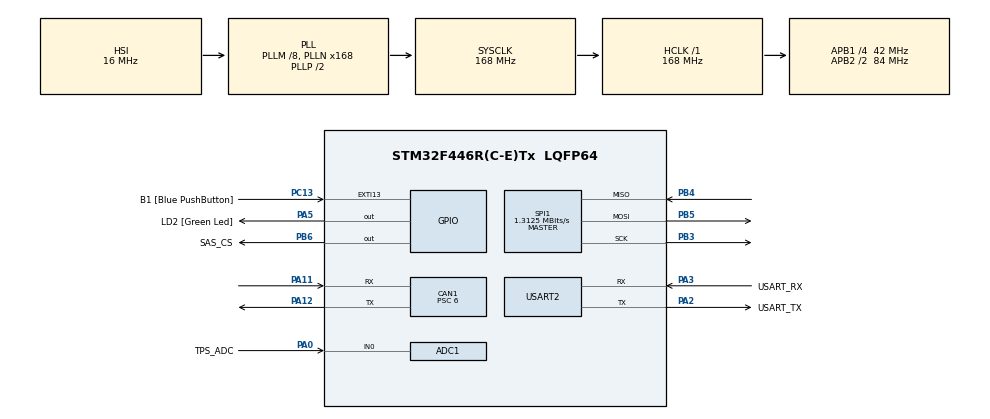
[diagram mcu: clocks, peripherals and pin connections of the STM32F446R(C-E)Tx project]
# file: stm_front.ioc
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ADC1.Channel-0\#ChannelRegularConversion=ADC_CHANNEL_0
ADC1.NbrOfConversionFlag=1
ADC1.Rank-0\#ChannelRegularConversion=1
ADC1.SamplingTime-0\#ChannelRegularConversion=ADC_SAMPLETIME_84CYCLES
ADC1.master=1
CAN1.ABOM=ENABLE
CAN1.BS1=CAN_BS1_10TQ
CAN1.BS2=CAN_BS2_3TQ
CAN1.CalculateBaudRate=500000
CAN1.CalculateTimeBit=2000
CAN1.CalculateTimeQuantum=142.85714285714286
CAN1.NART=ENABLE
CAN1.Prescaler=6
Mcu.Family=STM32F4
Mcu.Name=STM32F446R(C-E)Tx
Mcu.Package=LQFP64
NVIC.PriorityGroup=NVIC_PRIORITYGROUP_0
NVIC.TIM6_DAC_IRQn=true\:0\:0\:false\:false\:true\:true\:true\:true
PA0-WKUP.GPIO_Label=TPS_ADC
PA0-WKUP.Signal=ADCx_IN0
PA11.GPIO_Speed=GPIO_SPEED_FREQ_HIGH
PA11.Mode=CAN_Activate
PA11.Signal=CAN1_RX
PA12.GPIO_Speed=GPIO_SPEED_FREQ_HIGH
PA12.Mode=CAN_Activate
PA12.Signal=CAN1_TX
PA13.GPIO_Label=TMS
PA13.Mode=Serial_Wire
PA13.Signal=SYS_JTMS-SWDIO
PA14.GPIO_Label=TCK
PA14.Mode=Serial_Wire
PA14.Signal=SYS_JTCK-SWCLK
PA2.GPIO_Label=USART_TX
PA2.Mode=Asynchronous
PA2.Signal=USART2_TX
PA3.GPIO_Label=USART_RX
PA3.Mode=Asynchronous
PA3.Signal=USART2_RX
PA5.GPIO_Label=LD2 [Green Led]
PA5.Signal=GPIO_Output
PB3.GPIO_Speed=GPIO_SPEED_FREQ_HIGH
PB3.Mode=Full_Duplex_Master
PB3.Signal=SPI1_SCK
PB4.GPIO_Speed=GPIO_SPEED_FREQ_HIGH
PB4.Mode=Full_Duplex_Master
PB4.Signal=SPI1_MISO
PB5.GPIO_Speed=GPIO_SPEED_FREQ_HIGH
PB5.Mode=Full_Duplex_Master
PB5.Signal=SPI1_MOSI
PB6.GPIO_Label=SAS_CS
PB6.GPIO_PuPd=GPIO_PULLUP
PB6.GPIO_Speed=GPIO_SPEED_FREQ_MEDIUM
PB6.PinState=GPIO_PIN_SET
PB6.Signal=GPIO_Output
PC13.GPIO_Label=B1 [Blue PushButton]
PC13.GPIO_ModeDefaultEXTI=GPIO_MODE_IT_FALLING
PC13.Signal=GPXTI13
PC14-OSC32_IN.Mode=LSE-External-Oscillator
PC14-OSC32_IN.Signal=RCC_OSC32_IN
PC15-OSC32_OUT.Mode=LSE-External-Oscillator
PC15-OSC32_OUT.Signal=RCC_OSC32_OUT
PH0-OSC_IN.Mode=HSE-External-Oscillator
PH0-OSC_IN.Signal=RCC_OSC_IN
PH1-OSC_OUT.Mode=HSE-External-Oscillator
PH1-OSC_OUT.Signal=RCC_OSC_OUT
ProjectManager.HeapSize=0x200
ProjectManager.StackSize=0x400
ProjectManager.TargetToolchain=STM32CubeIDE
RCC.48MHZClocksFreq_Value=84000000
RCC.AHBFreq_Value=168000000
RCC.APB1CLKDivider=RCC_HCLK_DIV4
RCC.APB1Freq_Value=42000000
RCC.APB1TimFreq_Value=84000000
RCC.APB2CLKDivider=RCC_HCLK_DIV2
RCC.APB2Freq_Value=84000000
RCC.APB2TimFreq_Value=168000000
RCC.CortexFreq_Value=168000000
RCC.FLatency-AdvancedSettings=FLASH_LATENCY_5
RCC.HCLKFreq_Value=168000000
RCC.HSE_VALUE=16000000
RCC.HSI_VALUE=16000000
RCC.PLLM=8
RCC.PLLN=168
RCC.SYSCLKFreq_VALUE=168000000
RCC.SYSCLKSource=RCC_SYSCLKSOURCE_PLLCLK
RCC.USBFreq_Value=168000000
RCC.VCOOutputFreq_Value=336000000
SH.ADCx_IN0.0=ADC1_IN0,IN0
SPI1.BaudRatePrescaler=SPI_BAUDRATEPRESCALER_64
SPI1.CLKPhase=SPI_PHASE_2EDGE
SPI1.CalculateBaudRate=1.3125 MBits/s
SPI1.DataSize=SPI_DATASIZE_16BIT
SPI1.Direction=SPI_DIRECTION_2LINES
SPI1.Mode=SPI_MODE_MASTER
SPI1.VirtualType=VM_MASTER
TIM6.Period=999
TIM6.Prescaler=839
TIM6.TIM_MasterOutputTrigger=TIM_TRGO_UPDATE
USART2.VirtualMode=VM_ASYNC
VP_TIM6_VS_ClockSourceINT.Mode=Enable_Timer
board=NUCLEO-F446RE

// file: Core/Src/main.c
/* USER CODE BEGIN Header */
/**
  ******************************************************************************
  * @file           : main.c
  * @brief          : Main program body
  ******************************************************************************
  * @attention
  *
  * Copyright (c) 2026 STMicroelectronics.
  * All rights reserved.
  *
  * This software is licensed under terms that can be found in the LICENSE file
  * in the root directory of this software component.
  * If no LICENSE file comes with this software, it is provided AS-IS.
  *
  ******************************************************************************
  */
/* USER CODE END Header */
#include "main.h"

/* USER CODE BEGIN Includes */
#include "board_config.h"
#include "sas_sensor.h"
#include "tps_sensor.h"
#include "can_comm.h"
#include "can_messages.h"

/* USER CODE END Includes */

/* USER CODE BEGIN PD */
/* ★★ CAN 배선 검증 모드 ★★
 * 1 = 실제 TPS/SAS 대신 합성값(톱니파)을 CAN으로 내보낸다. 센서가 차량에
 *     장착돼 있어 손으로 움직일 수 없을 때, "CAN 배선이 되는가"와
 *     "센서가 되는가"를 분리해서 확인하는 용도.
 *     Board B의 USART2 출력에서 tps= 값이 계속 변하면 CAN 경로 정상.
 * 0 = 평소. 반드시 0으로 두고 차에 올릴 것.
 *
 * ★실차에 1로 올리면 매우 위험하다: 페달을 안 밟아도 TPS가 풀스케일까지
 *  올라가므로 시스템이 전력을 요구한다. 반드시 구동계 분리 상태에서만 쓸 것. */
#define CAN_TEST_MODE     0

/* 테스트 파형 상수 (CAN_TEST_MODE 전용)
 * 부팅 후 HOLD_TICKS 동안은 IDLE_VAL로 고정해 Board B의 TPS_LearnIdle()이
 * 성공하게 한다 — 그래야 부팅 시점의 CAN 수신까지 함께 검증된다.
 * ★IDLE_VAL을 기본값 868이 아닌 900으로 둔 이유: Board B가 "TPS idle: 900
 *   (learned)"로 찍으면 기본값 폴백이 아니라 진짜 수신했다는 증거가 된다. */
#define TEST_IDLE_VAL     900u
#define TEST_HOLD_TICKS   300u   /* 100Hz 기준 3초 */
#define TEST_TPS_STEP     8u     /* 톱니파 상승폭/틱 → 약 2.8초에 풀스윙 */
#define TEST_SAS_STEP     40u    /* SAS(14비트)는 더 크게 — 약 4초에 한 바퀴 */
/* USER CODE END PD */

ADC_HandleTypeDef hadc1;

CAN_HandleTypeDef hcan1;

SPI_HandleTypeDef hspi1;

TIM_HandleTypeDef htim6;

UART_HandleTypeDef huart2;

/* USER CODE BEGIN PV */
static volatile uint8_t hb_counter = 0;
/* USER CODE END PV */

void SystemClock_Config(void);
static void MX_GPIO_Init(void);
static void MX_ADC1_Init(void);
static void MX_CAN1_Init(void);
static void MX_SPI1_Init(void);
static void MX_TIM6_Init(void);
static void MX_USART2_UART_Init(void);

int main(void)
{

  /* MCU Configuration--------------------------------------------------------*/

  /* Reset of all peripherals, Initializes the Flash interface and the Systick. */
  HAL_Init();

  /* Configure the system clock */
  SystemClock_Config();

  /* Initialize all configured peripherals */
  MX_GPIO_Init();
  MX_ADC1_Init();
  MX_CAN1_Init();
  MX_SPI1_Init();
  MX_TIM6_Init();
  MX_USART2_UART_Init();
  /* USER CODE BEGIN 2 */
  SAS_Init();
     TPS_Init();
     CAN_Init();
     HAL_TIM_Base_Start_IT(&htim6);   /* 100Hz */
  /* USER CODE END 2 */

  /* Infinite loop */
  while (1)
  {

  }
}

void SystemClock_Config(void)
{
  RCC_OscInitTypeDef RCC_OscInitStruct = {0};
  RCC_ClkInitTypeDef RCC_ClkInitStruct = {0};

  /** Configure the main internal regulator output voltage
  */
  __HAL_RCC_PWR_CLK_ENABLE();
  __HAL_PWR_VOLTAGESCALING_CONFIG(PWR_REGULATOR_VOLTAGE_SCALE1);

  /** Initializes the RCC Oscillators according to the specified parameters
  * in the RCC_OscInitTypeDef structure.
  */
  RCC_OscInitStruct.OscillatorType = RCC_OSCILLATORTYPE_HSI;
  RCC_OscInitStruct.HSIState = RCC_HSI_ON;
  RCC_OscInitStruct.HSICalibrationValue = RCC_HSICALIBRATION_DEFAULT;
  RCC_OscInitStruct.PLL.PLLState = RCC_PLL_ON;
  RCC_OscInitStruct.PLL.PLLSource = RCC_PLLSOURCE_HSI;
  RCC_OscInitStruct.PLL.PLLM = 8;
  RCC_OscInitStruct.PLL.PLLN = 168;
  RCC_OscInitStruct.PLL.PLLP = RCC_PLLP_DIV2;
  RCC_OscInitStruct.PLL.PLLQ = 2;
  RCC_OscInitStruct.PLL.PLLR = 2;
  if (HAL_RCC_OscConfig(&RCC_OscInitStruct) != HAL_OK)
  {
    Error_Handler();
  }

  /** Initializes the CPU, AHB and APB buses clocks
  */
  RCC_ClkInitStruct.ClockType = RCC_CLOCKTYPE_HCLK|RCC_CLOCKTYPE_SYSCLK
                              |RCC_CLOCKTYPE_PCLK1|RCC_CLOCKTYPE_PCLK2;
  RCC_ClkInitStruct.SYSCLKSource = RCC_SYSCLKSOURCE_PLLCLK;
  RCC_ClkInitStruct.AHBCLKDivider = RCC_SYSCLK_DIV1;
  RCC_ClkInitStruct.APB1CLKDivider = RCC_HCLK_DIV4;
  RCC_ClkInitStruct.APB2CLKDivider = RCC_HCLK_DIV2;

  if (HAL_RCC_ClockConfig(&RCC_ClkInitStruct, FLASH_LATENCY_5) != HAL_OK)
  {
    Error_Handler();
  }
}

static void MX_ADC1_Init(void)
{

  ADC_ChannelConfTypeDef sConfig = {0};

  /** Configure the global features of the ADC (Clock, Resolution, Data Alignment and number of conversion)
  */
  hadc1.Instance = ADC1;
  hadc1.Init.ClockPrescaler = ADC_CLOCK_SYNC_PCLK_DIV4;
  hadc1.Init.Resolution = ADC_RESOLUTION_12B;
  hadc1.Init.ScanConvMode = DISABLE;
  hadc1.Init.ContinuousConvMode = DISABLE;
  hadc1.Init.DiscontinuousConvMode = DISABLE;
  hadc1.Init.ExternalTrigConvEdge = ADC_EXTERNALTRIGCONVEDGE_NONE;
  hadc1.Init.ExternalTrigConv = ADC_SOFTWARE_START;
  hadc1.Init.DataAlign = ADC_DATAALIGN_RIGHT;
  hadc1.Init.NbrOfConversion = 1;
  hadc1.Init.DMAContinuousRequests = DISABLE;
  hadc1.Init.EOCSelection = ADC_EOC_SINGLE_CONV;
  if (HAL_ADC_Init(&hadc1) != HAL_OK)
  {
    Error_Handler();
  }

  /** Configure for the selected ADC regular channel its corresponding rank in the sequencer and its sample time.
  */
  sConfig.Channel = ADC_CHANNEL_0;
  sConfig.Rank = 1;
  sConfig.SamplingTime = ADC_SAMPLETIME_84CYCLES;
  if (HAL_ADC_ConfigChannel(&hadc1, &sConfig) != HAL_OK)
  {
    Error_Handler();
  }

}

static void MX_CAN1_Init(void)
{

  hcan1.Instance = CAN1;
  hcan1.Init.Prescaler = 6;
  hcan1.Init.Mode = CAN_MODE_NORMAL;
  hcan1.Init.SyncJumpWidth = CAN_SJW_1TQ;
  hcan1.Init.TimeSeg1 = CAN_BS1_10TQ;
  hcan1.Init.TimeSeg2 = CAN_BS2_3TQ;
  hcan1.Init.TimeTriggeredMode = DISABLE;
  hcan1.Init.AutoBusOff = ENABLE;
  hcan1.Init.AutoWakeUp = DISABLE;
  hcan1.Init.AutoRetransmission = ENABLE;
  hcan1.Init.ReceiveFifoLocked = DISABLE;
  hcan1.Init.TransmitFifoPriority = DISABLE;
  if (HAL_CAN_Init(&hcan1) != HAL_OK)
  {
    Error_Handler();
  }

}

static void MX_SPI1_Init(void)
{

  /* SPI1 parameter configuration*/
  hspi1.Instance = SPI1;
  hspi1.Init.Mode = SPI_MODE_MASTER;
  hspi1.Init.Direction = SPI_DIRECTION_2LINES;
  hspi1.Init.DataSize = SPI_DATASIZE_16BIT;
  hspi1.Init.CLKPolarity = SPI_POLARITY_LOW;
  hspi1.Init.CLKPhase = SPI_PHASE_2EDGE;
  hspi1.Init.NSS = SPI_NSS_SOFT;
  hspi1.Init.BaudRatePrescaler = SPI_BAUDRATEPRESCALER_64;
  hspi1.Init.FirstBit = SPI_FIRSTBIT_MSB;
  hspi1.Init.TIMode = SPI_TIMODE_DISABLE;
  hspi1.Init.CRCCalculation = SPI_CRCCALCULATION_DISABLE;
  hspi1.Init.CRCPolynomial = 10;
  if (HAL_SPI_Init(&hspi1) != HAL_OK)
  {
    Error_Handler();
  }

}

static void MX_TIM6_Init(void)
{

  TIM_MasterConfigTypeDef sMasterConfig = {0};

  htim6.Instance = TIM6;
  htim6.Init.Prescaler = 839;
  htim6.Init.CounterMode = TIM_COUNTERMODE_UP;
  htim6.Init.Period = 999;
  htim6.Init.AutoReloadPreload = TIM_AUTORELOAD_PRELOAD_DISABLE;
  if (HAL_TIM_Base_Init(&htim6) != HAL_OK)
  {
    Error_Handler();
  }
  sMasterConfig.MasterOutputTrigger = TIM_TRGO_UPDATE;
  sMasterConfig.MasterSlaveMode = TIM_MASTERSLAVEMODE_DISABLE;
  if (HAL_TIMEx_MasterConfigSynchronization(&htim6, &sMasterConfig) != HAL_OK)
  {
    Error_Handler();
  }

}

static void MX_USART2_UART_Init(void)
{

  huart2.Instance = USART2;
  huart2.Init.BaudRate = 115200;
  huart2.Init.WordLength = UART_WORDLENGTH_8B;
  huart2.Init.StopBits = UART_STOPBITS_1;
  huart2.Init.Parity = UART_PARITY_NONE;
  huart2.Init.Mode = UART_MODE_TX_RX;
  huart2.Init.HwFlowCtl = UART_HWCONTROL_NONE;
  huart2.Init.OverSampling = UART_OVERSAMPLING_16;
  if (HAL_UART_Init(&huart2) != HAL_OK)
  {
    Error_Handler();
  }

}

static void MX_GPIO_Init(void)
{
  GPIO_InitTypeDef GPIO_InitStruct = {0};

  /* GPIO Ports Clock Enable */
  __HAL_RCC_GPIOC_CLK_ENABLE();
  __HAL_RCC_GPIOH_CLK_ENABLE();
  __HAL_RCC_GPIOA_CLK_ENABLE();
  __HAL_RCC_GPIOB_CLK_ENABLE();

  /*Configure GPIO pin Output Level */
  HAL_GPIO_WritePin(LD2_GPIO_Port, LD2_Pin, GPIO_PIN_RESET);

  /*Configure GPIO pin Output Level */
  HAL_GPIO_WritePin(SAS_CS_GPIO_Port, SAS_CS_Pin, GPIO_PIN_SET);

  /*Configure GPIO pin : B1_Pin */
  GPIO_InitStruct.Pin = B1_Pin;
  GPIO_InitStruct.Mode = GPIO_MODE_IT_FALLING;
  GPIO_InitStruct.Pull = GPIO_NOPULL;
  HAL_GPIO_Init(B1_GPIO_Port, &GPIO_InitStruct);

  /*Configure GPIO pin : LD2_Pin */
  GPIO_InitStruct.Pin = LD2_Pin;
  GPIO_InitStruct.Mode = GPIO_MODE_OUTPUT_PP;
  GPIO_InitStruct.Pull = GPIO_NOPULL;
  GPIO_InitStruct.Speed = GPIO_SPEED_FREQ_LOW;
  HAL_GPIO_Init(LD2_GPIO_Port, &GPIO_InitStruct);

  /*Configure GPIO pin : SAS_CS_Pin */
  GPIO_InitStruct.Pin = SAS_CS_Pin;
  GPIO_InitStruct.Mode = GPIO_MODE_OUTPUT_PP;
  GPIO_InitStruct.Pull = GPIO_PULLUP;
  GPIO_InitStruct.Speed = GPIO_SPEED_FREQ_MEDIUM;
  HAL_GPIO_Init(SAS_CS_GPIO_Port, &GPIO_InitStruct);

  /* USER CODE BEGIN MX_GPIO_Init_2 */
  /* ★TV 토글 스위치(PC13)를 EXTI가 아닌 일반 입력(풀업)으로 다시 잡는다.
   * 위 생성 코드가 B1_Pin을 GPIO_MODE_IT_FALLING으로 설정하는데, 우리는
   * 인터럽트가 아니라 100Hz ISR에서 폴링+디바운스로 읽는다. 이 블록이
   * 생성 코드 뒤에 실행되므로 CubeMX 재생성에도 덮이지 않는다. */
  {
    GPIO_InitTypeDef sw = {0};
    sw.Pin  = TV_SWITCH_PIN;
    sw.Mode = GPIO_MODE_INPUT;
    sw.Pull = GPIO_PULLUP;
    HAL_GPIO_Init(TV_SWITCH_PORT, &sw);
  }
  /* USER CODE END MX_GPIO_Init_2 */
}

/* USER CODE BEGIN 4 */
/* 토크벡터링 토글 스위치 디바운스 — 기계식 접점 채터링과 배선에 유도된
 * 노이즈로 TV가 깜빡깜빡 켜졌다 꺼지는 걸 막는다. SWITCH_DEBOUNCE_TICKS
 * (50ms) 연속으로 같은 레벨이어야 상태를 바꾼다. 100Hz ISR에서만 호출.
 * ★Board B에 있던 것과 동일한 로직 — 스위치를 앞 보드로 옮기면서 같이 왔다. */
static bool TV_Switch_Debounced(void) {
    static bool    stable = false;
    static uint8_t count  = 0;

    bool raw = (HAL_GPIO_ReadPin(TV_SWITCH_PORT, TV_SWITCH_PIN)
                == TV_SWITCH_ON_STATE);
    if (raw == stable) { count = 0; }
    else if (++count >= SWITCH_DEBOUNCE_TICKS) { stable = raw; count = 0; }
    return stable;
}

void HAL_TIM_PeriodElapsedCallback(TIM_HandleTypeDef *htim) {
    if (htim->Instance == TIM6) {
        uint16_t sas = SAS_ReadAngle();
        uint16_t tps = TPS_ReadRaw();
        uint8_t  flags = TV_Switch_Debounced() ? SENSOR_FLAG_TV_SW : 0u;

        uint8_t status = HB_STATUS_OK;
        if (SAS_HasError())    status |= HB_STATUS_SAS_ERR;
        if (!TPS_IsValid(tps)) status |= HB_STATUS_TPS_ERR;

#if CAN_TEST_MODE
        /* ★TEMP: 실제 센서값을 버리고 합성 톱니파로 덮어쓴다.
         * 상태 비트도 OK로 강제한다 — 차량에 장착된 실제 센서가 범위를
         * 벗어나 에러를 띄우면 Board B의 세이프티가 걸려서, CAN이 멀쩡한데도
         * 안 되는 것처럼 보이기 때문이다. */
        {
            static uint32_t t     = 0;
            static uint16_t tps_w = TEST_IDLE_VAL;
            static uint16_t sas_w = 8192u;   /* 14비트 중앙 */
            static int16_t  sas_d = TEST_SAS_STEP;

            if (t < TEST_HOLD_TICKS) {
                t++;                      /* 부팅 직후: idle 고정 구간 */
            } else {
                tps_w += TEST_TPS_STEP;
                if (tps_w > TPS_ADC_MAX) tps_w = TEST_IDLE_VAL;   /* 톱니파 */
                /* ★SAS는 톱니파가 아니라 삼각파로 만든다. 0↔16383을 감싸면
                 * Board B의 Deglitch가 그 순간을 이상치로 걸러서, 멀쩡한
                 * 통신인데 값이 튀는 것처럼 보이기 때문이다. */
                sas_w = (uint16_t)((int32_t)sas_w + sas_d);
                if (sas_w > 12288u || sas_w < 4096u) sas_d = (int16_t)(-sas_d);
            }
            tps    = tps_w;
            sas    = sas_w;
            status = HB_STATUS_OK;
        }
#endif

        CAN_SendSensorData(sas, tps, flags);

        if (++hb_counter >= HEARTBEAT_DIV) {
            CAN_SendHeartbeat(status);
            hb_counter = 0;
        }
        HAL_GPIO_TogglePin(LED_PORT, LED_PIN);
    }
}

/* USER CODE END 4 */

void Error_Handler(void)
{
  __disable_irq();
  while (1)
  {
  }
}
